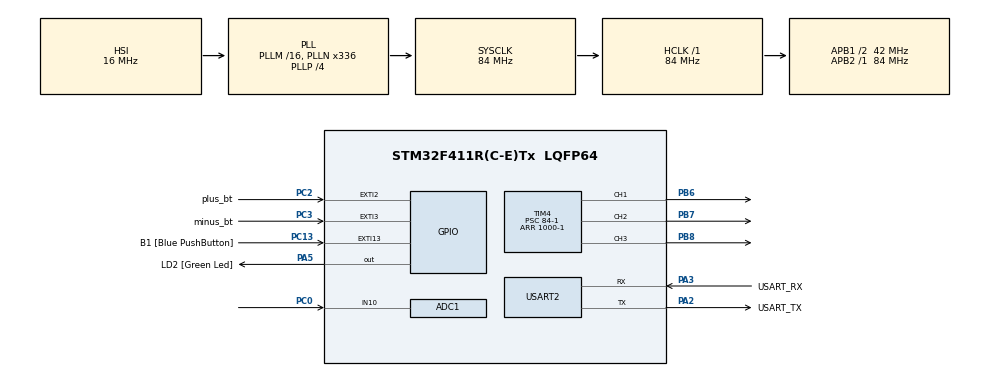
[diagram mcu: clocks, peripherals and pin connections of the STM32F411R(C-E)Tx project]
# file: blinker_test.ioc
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ADC1.Channel-5\#ChannelRegularConversion=ADC_CHANNEL_10
ADC1.ClockPrescaler=ADC_CLOCK_SYNC_PCLK_DIV6
ADC1.ContinuousConvMode=ENABLE
ADC1.NbrOfConversionFlag=1
ADC1.Rank-5\#ChannelRegularConversion=1
ADC1.SamplingTime-5\#ChannelRegularConversion=ADC_SAMPLETIME_15CYCLES
ADC1.ScanConvMode=ENABLE
ADC1.master=1
Mcu.Family=STM32F4
Mcu.Name=STM32F411R(C-E)Tx
Mcu.Package=LQFP64
NVIC.ADC_IRQn=true\:0\:0\:false\:false\:true\:true\:true\:true
NVIC.EXTI2_IRQn=true\:0\:0\:false\:false\:true\:true\:true\:true
NVIC.EXTI3_IRQn=true\:0\:0\:false\:false\:true\:true\:true\:true
NVIC.PriorityGroup=NVIC_PRIORITYGROUP_0
NVIC.TIM4_IRQn=true\:0\:0\:false\:false\:true\:true\:true\:true
PA13.GPIO_Label=TMS
PA13.Mode=Serial_Wire
PA13.Signal=SYS_JTMS-SWDIO
PA14.GPIO_Label=TCK
PA14.Mode=Serial_Wire
PA14.Signal=SYS_JTCK-SWCLK
PA2.GPIO_Label=USART_TX
PA2.Mode=Asynchronous
PA2.Signal=USART2_TX
PA3.GPIO_Label=USART_RX
PA3.Mode=Asynchronous
PA3.Signal=USART2_RX
PA5.GPIO_Label=LD2 [Green Led]
PA5.Signal=GPIO_Output
PB3.GPIO_Label=SWO
PB3.Signal=SYS_JTDO-SWO
PB6.Signal=S_TIM4_CH1
PB7.Signal=S_TIM4_CH2
PB8.Signal=S_TIM4_CH3
PC0.Signal=ADCx_IN10
PC13-ANTI_TAMP.GPIO_Label=B1 [Blue PushButton]
PC13-ANTI_TAMP.GPIO_ModeDefaultEXTI=GPIO_MODE_IT_FALLING
PC13-ANTI_TAMP.Signal=GPXTI13
PC14-OSC32_IN.Signal=RCC_OSC32_IN
PC15-OSC32_OUT.Signal=RCC_OSC32_OUT
PC2.GPIO_Label=plus_bt
PC2.Signal=GPXTI2
PC3.GPIO_Label=minus_bt
PC3.Signal=GPXTI3
PH0\ -\ OSC_IN.Signal=RCC_OSC_IN
PH1\ -\ OSC_OUT.Signal=RCC_OSC_OUT
ProjectManager.HeapSize=0x200
ProjectManager.StackSize=0x400
ProjectManager.TargetToolchain=STM32CubeIDE
RCC.48MHZClocksFreq_Value=84000000
RCC.AHBFreq_Value=84000000
RCC.APB1CLKDivider=RCC_HCLK_DIV2
RCC.APB1Freq_Value=42000000
RCC.APB1TimFreq_Value=84000000
RCC.APB2Freq_Value=84000000
RCC.APB2TimFreq_Value=84000000
RCC.CortexFreq_Value=84000000
RCC.FLatency-AdvancedSettings=FLASH_LATENCY_2
RCC.HCLKFreq_Value=84000000
RCC.HSE_VALUE=8000000
RCC.HSI_VALUE=16000000
RCC.LSE_VALUE=32768
RCC.PLLN=336
RCC.PLLP=RCC_PLLP_DIV4
RCC.SYSCLKFreq_VALUE=84000000
RCC.SYSCLKSource=RCC_SYSCLKSOURCE_PLLCLK
RCC.VCOOutputFreq_Value=336000000
SH.ADCx_IN10.0=ADC1_IN10,IN10
SH.S_TIM4_CH1.0=TIM4_CH1,PWM Generation1 CH1
SH.S_TIM4_CH2.0=TIM4_CH2,PWM Generation2 CH2
SH.S_TIM4_CH3.0=TIM4_CH3,PWM Generation3 CH3
TIM4.Channel-PWM\ Generation1\ CH1=TIM_CHANNEL_1
TIM4.Channel-PWM\ Generation2\ CH2=TIM_CHANNEL_2
TIM4.Channel-PWM\ Generation3\ CH3=TIM_CHANNEL_3
TIM4.Period=1000-1
TIM4.Prescaler=84-1
TIM4.Pulse-PWM\ Generation1\ CH1=0
TIM4.Pulse-PWM\ Generation2\ CH2=0
TIM4.Pulse-PWM\ Generation3\ CH3=1000
USART2.VirtualMode=VM_ASYNC
VP_TIM4_VS_ClockSourceINT.Mode=Internal
board=NUCLEO-F411RE

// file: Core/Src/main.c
/* USER CODE BEGIN Header */
/**
  ******************************************************************************
  * @file           : main.c
  * @brief          : Main program body
  ******************************************************************************
  * @attention
  *
  * Copyright (c) 2025 STMicroelectronics.
  * All rights reserved.
  *
  * This software is licensed under terms that can be found in the LICENSE file
  * in the root directory of this software component.
  * If no LICENSE file comes with this software, it is provided AS-IS.
  *
  ******************************************************************************
  */
/* USER CODE END Header */
#include "main.h"

/* USER CODE BEGIN Includes */
#include<stdio.h>
/* USER CODE END Includes */

/* USER CODE BEGIN PTD */
#ifdef __GNUC__
/* With GCC, small printf (option LD Linker->Libraries->Small printf
   set to 'Yes') calls __io_putchar() */
#define PUTCHAR_PROTOTYPE int __io_putchar(int ch)
#else
#define PUTCHAR_PROTOTYPE int fputc(int ch, FILE *f)
#endif /* __GNUC__ */
/* USER CODE END PTD */

ADC_HandleTypeDef hadc1;

TIM_HandleTypeDef htim4;

UART_HandleTypeDef huart2;

/* USER CODE BEGIN PV */
volatile int time4SecFlag = 0;
volatile unsigned int time4SecCnt=0; //1초마다 증가
volatile unsigned int time4Cnt = 0; //1msec마다 증가
volatile int time4CntFlag = 1;
volatile int time4_100msFlag =0; //100ms마다 set
unsigned long debounceDelay = 10; //10ms 마다 버튼이 눌리는지 검사, 채터링이 심할 때 추가
unsigned long lastDebounceTime = 0;
int keyno=0;
uint32_t pwmValue;
/* USER CODE END PV */

void SystemClock_Config(void);
static void MX_GPIO_Init(void);
static void MX_USART2_UART_Init(void);
static void MX_ADC1_Init(void);
static void MX_TIM4_Init(void);

int main(void)
{

  /* USER CODE BEGIN 1 */
	int pluse =0;

	int time=1;
	int colorIndex = 0;
  /* USER CODE END 1 */

  /* MCU Configuration--------------------------------------------------------*/

  /* Reset of all peripherals, Initializes the Flash interface and the Systick. */
  HAL_Init();

  /* Configure the system clock */
  SystemClock_Config();

  /* Initialize all configured peripherals */
  MX_GPIO_Init();
  MX_USART2_UART_Init();
  MX_ADC1_Init();
  MX_TIM4_Init();
  /* USER CODE BEGIN 2 */
  printf("start blinker_test\r\n");
  if(HAL_TIM_Base_Start_IT(&htim4) != HAL_OK) //인터럽트 시작
  	Error_Handler();

  if(HAL_TIM_PWM_Start(&htim4, TIM_CHANNEL_1) != HAL_OK)
		Error_Handler();
  if(HAL_TIM_PWM_Start(&htim4, TIM_CHANNEL_2) != HAL_OK)
		Error_Handler();
  if(HAL_TIM_PWM_Start(&htim4, TIM_CHANNEL_3) != HAL_OK)
		Error_Handler();
  HAL_ADC_Start_IT(&hadc1);

  /* USER CODE END 2 */

  /* Infinite loop */
  /* USER CODE BEGIN WHILE */
  while (1)
  {
	 	  if((HAL_GetTick() - lastDebounceTime) > debounceDelay)
	 	  {
	 		  lastDebounceTime = HAL_GetTick();
	 	  	  if(keyno != 0) //키가 눌리지 않으면 0 눌리면 1~4
	 	  	  {
	 	  		printf("keyno : %d \r\n",keyno);

	 	  		if((time == 10 && keyno ==1) || (time == 1 && keyno ==2)) // 같은 값을 계속 나오게할 때 펄스 값이 더이상 나오지 않게 continue
	 	  			 	  			continue;
	 	  		if((keyno == 1) && (time < 10))
	 	  		{
	 	  			time++;
	 	  		}
	 	  		else if((keyno == 2) && (time > 1))
	 	  		{
	 	  			time--;
	 	  		}
	 	  		keyno = 0;
	 	  		printf("%d\r\n",time);
	 	  	  }
	 	  }
	if(time4SecFlag)
	{
		 time4SecFlag = 0;
	 	 if(time4SecCnt % time == 0)
	 	 {
	 	 	 	if (colorIndex == 0)
	 	 	    {
	 	 	 		__HAL_TIM_SetCompare(&htim4, TIM_CHANNEL_1, pwmValue);
	 	 	 	    __HAL_TIM_SetCompare(&htim4, TIM_CHANNEL_2, 0);
	 	 	 	    __HAL_TIM_SetCompare(&htim4, TIM_CHANNEL_3, 0);
	 	 	    }
	 	        else if (colorIndex == 1)
	 	 	    {
	 	 	 	   __HAL_TIM_SetCompare(&htim4, TIM_CHANNEL_1, 0);
	 	 	 	   __HAL_TIM_SetCompare(&htim4, TIM_CHANNEL_2, pwmValue);
	 	 	 	   __HAL_TIM_SetCompare(&htim4, TIM_CHANNEL_3, 0);
	 	 	 	 }
	 	 	 	 else if (colorIndex == 2)
	 	 	 	{
	 	 	 	   __HAL_TIM_SetCompare(&htim4, TIM_CHANNEL_1, 0);
	 	 	 	   __HAL_TIM_SetCompare(&htim4, TIM_CHANNEL_2, 0);
	 	 	 	   __HAL_TIM_SetCompare(&htim4, TIM_CHANNEL_3, pwmValue);
	 	 	 	  }
	 	 	 	  	colorIndex++;
	 	 	 	  	if (colorIndex > 2) colorIndex = 0;
	 	 }
	}
    /* USER CODE END WHILE */

  }
}

void SystemClock_Config(void)
{
  RCC_OscInitTypeDef RCC_OscInitStruct = {0};
  RCC_ClkInitTypeDef RCC_ClkInitStruct = {0};

  /** Configure the main internal regulator output voltage
  */
  __HAL_RCC_PWR_CLK_ENABLE();
  __HAL_PWR_VOLTAGESCALING_CONFIG(PWR_REGULATOR_VOLTAGE_SCALE1);

  /** Initializes the RCC Oscillators according to the specified parameters
  * in the RCC_OscInitTypeDef structure.
  */
  RCC_OscInitStruct.OscillatorType = RCC_OSCILLATORTYPE_HSI;
  RCC_OscInitStruct.HSIState = RCC_HSI_ON;
  RCC_OscInitStruct.HSICalibrationValue = RCC_HSICALIBRATION_DEFAULT;
  RCC_OscInitStruct.PLL.PLLState = RCC_PLL_ON;
  RCC_OscInitStruct.PLL.PLLSource = RCC_PLLSOURCE_HSI;
  RCC_OscInitStruct.PLL.PLLM = 16;
  RCC_OscInitStruct.PLL.PLLN = 336;
  RCC_OscInitStruct.PLL.PLLP = RCC_PLLP_DIV4;
  RCC_OscInitStruct.PLL.PLLQ = 4;
  if (HAL_RCC_OscConfig(&RCC_OscInitStruct) != HAL_OK)
  {
    Error_Handler();
  }

  /** Initializes the CPU, AHB and APB buses clocks
  */
  RCC_ClkInitStruct.ClockType = RCC_CLOCKTYPE_HCLK|RCC_CLOCKTYPE_SYSCLK
                              |RCC_CLOCKTYPE_PCLK1|RCC_CLOCKTYPE_PCLK2;
  RCC_ClkInitStruct.SYSCLKSource = RCC_SYSCLKSOURCE_PLLCLK;
  RCC_ClkInitStruct.AHBCLKDivider = RCC_SYSCLK_DIV1;
  RCC_ClkInitStruct.APB1CLKDivider = RCC_HCLK_DIV2;
  RCC_ClkInitStruct.APB2CLKDivider = RCC_HCLK_DIV1;

  if (HAL_RCC_ClockConfig(&RCC_ClkInitStruct, FLASH_LATENCY_2) != HAL_OK)
  {
    Error_Handler();
  }
}

static void MX_ADC1_Init(void)
{

  ADC_ChannelConfTypeDef sConfig = {0};

  /** Configure the global features of the ADC (Clock, Resolution, Data Alignment and number of conversion)
  */
  hadc1.Instance = ADC1;
  hadc1.Init.ClockPrescaler = ADC_CLOCK_SYNC_PCLK_DIV6;
  hadc1.Init.Resolution = ADC_RESOLUTION_12B;
  hadc1.Init.ScanConvMode = ENABLE;
  hadc1.Init.ContinuousConvMode = ENABLE;
  hadc1.Init.DiscontinuousConvMode = DISABLE;
  hadc1.Init.ExternalTrigConvEdge = ADC_EXTERNALTRIGCONVEDGE_NONE;
  hadc1.Init.ExternalTrigConv = ADC_SOFTWARE_START;
  hadc1.Init.DataAlign = ADC_DATAALIGN_RIGHT;
  hadc1.Init.NbrOfConversion = 1;
  hadc1.Init.DMAContinuousRequests = DISABLE;
  hadc1.Init.EOCSelection = ADC_EOC_SINGLE_CONV;
  if (HAL_ADC_Init(&hadc1) != HAL_OK)
  {
    Error_Handler();
  }

  /** Configure for the selected ADC regular channel its corresponding rank in the sequencer and its sample time.
  */
  sConfig.Channel = ADC_CHANNEL_10;
  sConfig.Rank = 1;
  sConfig.SamplingTime = ADC_SAMPLETIME_15CYCLES;
  if (HAL_ADC_ConfigChannel(&hadc1, &sConfig) != HAL_OK)
  {
    Error_Handler();
  }

}

static void MX_TIM4_Init(void)
{

  TIM_ClockConfigTypeDef sClockSourceConfig = {0};
  TIM_MasterConfigTypeDef sMasterConfig = {0};
  TIM_OC_InitTypeDef sConfigOC = {0};

  htim4.Instance = TIM4;
  htim4.Init.Prescaler = 84-1;
  htim4.Init.CounterMode = TIM_COUNTERMODE_UP;
  htim4.Init.Period = 1000-1;
  htim4.Init.ClockDivision = TIM_CLOCKDIVISION_DIV1;
  htim4.Init.AutoReloadPreload = TIM_AUTORELOAD_PRELOAD_DISABLE;
  if (HAL_TIM_Base_Init(&htim4) != HAL_OK)
  {
    Error_Handler();
  }
  sClockSourceConfig.ClockSource = TIM_CLOCKSOURCE_INTERNAL;
  if (HAL_TIM_ConfigClockSource(&htim4, &sClockSourceConfig) != HAL_OK)
  {
    Error_Handler();
  }
  if (HAL_TIM_PWM_Init(&htim4) != HAL_OK)
  {
    Error_Handler();
  }
  sMasterConfig.MasterOutputTrigger = TIM_TRGO_RESET;
  sMasterConfig.MasterSlaveMode = TIM_MASTERSLAVEMODE_DISABLE;
  if (HAL_TIMEx_MasterConfigSynchronization(&htim4, &sMasterConfig) != HAL_OK)
  {
    Error_Handler();
  }
  sConfigOC.OCMode = TIM_OCMODE_PWM1;
  sConfigOC.Pulse = 0;
  sConfigOC.OCPolarity = TIM_OCPOLARITY_HIGH;
  sConfigOC.OCFastMode = TIM_OCFAST_DISABLE;
  if (HAL_TIM_PWM_ConfigChannel(&htim4, &sConfigOC, TIM_CHANNEL_1) != HAL_OK)
  {
    Error_Handler();
  }
  if (HAL_TIM_PWM_ConfigChannel(&htim4, &sConfigOC, TIM_CHANNEL_2) != HAL_OK)
  {
    Error_Handler();
  }
  sConfigOC.Pulse = 1000;
  if (HAL_TIM_PWM_ConfigChannel(&htim4, &sConfigOC, TIM_CHANNEL_3) != HAL_OK)
  {
    Error_Handler();
  }
  HAL_TIM_MspPostInit(&htim4);

}

static void MX_USART2_UART_Init(void)
{

  huart2.Instance = USART2;
  huart2.Init.BaudRate = 115200;
  huart2.Init.WordLength = UART_WORDLENGTH_8B;
  huart2.Init.StopBits = UART_STOPBITS_1;
  huart2.Init.Parity = UART_PARITY_NONE;
  huart2.Init.Mode = UART_MODE_TX_RX;
  huart2.Init.HwFlowCtl = UART_HWCONTROL_NONE;
  huart2.Init.OverSampling = UART_OVERSAMPLING_16;
  if (HAL_UART_Init(&huart2) != HAL_OK)
  {
    Error_Handler();
  }

}

static void MX_GPIO_Init(void)
{
  GPIO_InitTypeDef GPIO_InitStruct = {0};

  /* GPIO Ports Clock Enable */
  __HAL_RCC_GPIOC_CLK_ENABLE();
  __HAL_RCC_GPIOH_CLK_ENABLE();
  __HAL_RCC_GPIOA_CLK_ENABLE();
  __HAL_RCC_GPIOB_CLK_ENABLE();

  /*Configure GPIO pin Output Level */
  HAL_GPIO_WritePin(LD2_GPIO_Port, LD2_Pin, GPIO_PIN_RESET);

  /*Configure GPIO pin : B1_Pin */
  GPIO_InitStruct.Pin = B1_Pin;
  GPIO_InitStruct.Mode = GPIO_MODE_IT_FALLING;
  GPIO_InitStruct.Pull = GPIO_NOPULL;
  HAL_GPIO_Init(B1_GPIO_Port, &GPIO_InitStruct);

  /*Configure GPIO pins : plus_bt_Pin minus_bt_Pin */
  GPIO_InitStruct.Pin = plus_bt_Pin|minus_bt_Pin;
  GPIO_InitStruct.Mode = GPIO_MODE_IT_RISING;
  GPIO_InitStruct.Pull = GPIO_NOPULL;
  HAL_GPIO_Init(GPIOC, &GPIO_InitStruct);

  /*Configure GPIO pin : LD2_Pin */
  GPIO_InitStruct.Pin = LD2_Pin;
  GPIO_InitStruct.Mode = GPIO_MODE_OUTPUT_PP;
  GPIO_InitStruct.Pull = GPIO_NOPULL;
  GPIO_InitStruct.Speed = GPIO_SPEED_FREQ_LOW;
  HAL_GPIO_Init(LD2_GPIO_Port, &GPIO_InitStruct);

  /* EXTI interrupt init*/
  HAL_NVIC_SetPriority(EXTI2_IRQn, 0, 0);
  HAL_NVIC_EnableIRQ(EXTI2_IRQn);

  HAL_NVIC_SetPriority(EXTI3_IRQn, 0, 0);
  HAL_NVIC_EnableIRQ(EXTI3_IRQn);

}

/* USER CODE BEGIN 4 */
	 void HAL_TIM_PeriodElapsedCallback(TIM_HandleTypeDef *htim)
	 {
	 	if(htim->Instance == TIM4)
	 	{
	 		time4CntFlag = 1;
	 		time4Cnt++; //1msec마다 증가
	 		if(time4Cnt % 100) //1ms*100 =100ms
	 				time4_100msFlag = 1;
	 		if(time4Cnt >= 1000)
	 		{
	 			time4SecCnt++; //1초마다 증가
	 			time4SecFlag = 1;
	 			time4Cnt = 0;
	 		}
	 	}
	 }
	 void HAL_GPIO_EXTI_Callback(uint16_t GPIO_PIN)
	 {
		 switch(GPIO_PIN)
		 {
		 	 case plus_bt_Pin:
		 		 keyno = 1;
		 		 break;
		 	 case minus_bt_Pin:
		 		 keyno = 2;
		 		 break;
		 }
	 }
//폴링 방식의 버튼 읽기
//	 int getKeyNum()
//	 {
//	 	int keyNumber = 0;
//	 	int buttonState = 0;
//	 	static int keyNumberOld=0;
//	 	for(int i = 0; i<2; i++)
//	 	{
//	 		  buttonState = HAL_GPIO_ReadPin(GPIOC, plus_bt_Pin<<i);
//	 		  if(buttonState) //눌리면
//	 		  {
//	 			  keyNumber = i+1;
//	 			  if(keyNumber != keyNumberOld)
//	 			  {
//	 				  keyNumberOld = keyNumber;
//	 				  return keyNumber; //keyNum 1~4
//	 			  }
//	 			  else
//	 				  return 0;
//	 		  }
//	 	}
//	 	keyNumberOld = 0;
//	 	return keyNumber; //눌리지 않으면 초기값 0을 return
//	 }

	 /**
	   * @brief  Retargets the C library printf function to the USART.
	   * @param  None
	   * @retval None
	   */
	 PUTCHAR_PROTOTYPE
	 {
	   /* Place your implementation of fputc here */
	   /* e.g. write a character to the USART6 and Loop until the end of transmission */
	   HAL_UART_Transmit(&huart2, (uint8_t *)&ch, 1, 0xFFFF);

	   return ch;
	 }

	 void HAL_ADC_ConvCpltCallback(ADC_HandleTypeDef* hadc)
	 {
	     if (hadc->Instance == ADC1)   // 사용 중인 ADC 확인
	     {
	         uint32_t adcValue = HAL_ADC_GetValue(hadc);

	         // 12비트 ADC 값(0~4095)을 PWM 범위(0~ARR)로 매핑
	         pwmValue = (adcValue * __HAL_TIM_GET_AUTORELOAD(&htim4)) / 4095;

	         // 다음 변환을 위해 다시 ADC 시작 (연속 변환이 아니면 필요)
	         HAL_ADC_Start_IT(hadc);
	     }
	 }

/* USER CODE END 4 */

void Error_Handler(void)
{
  __disable_irq();
  while (1)
  {
  }
}
